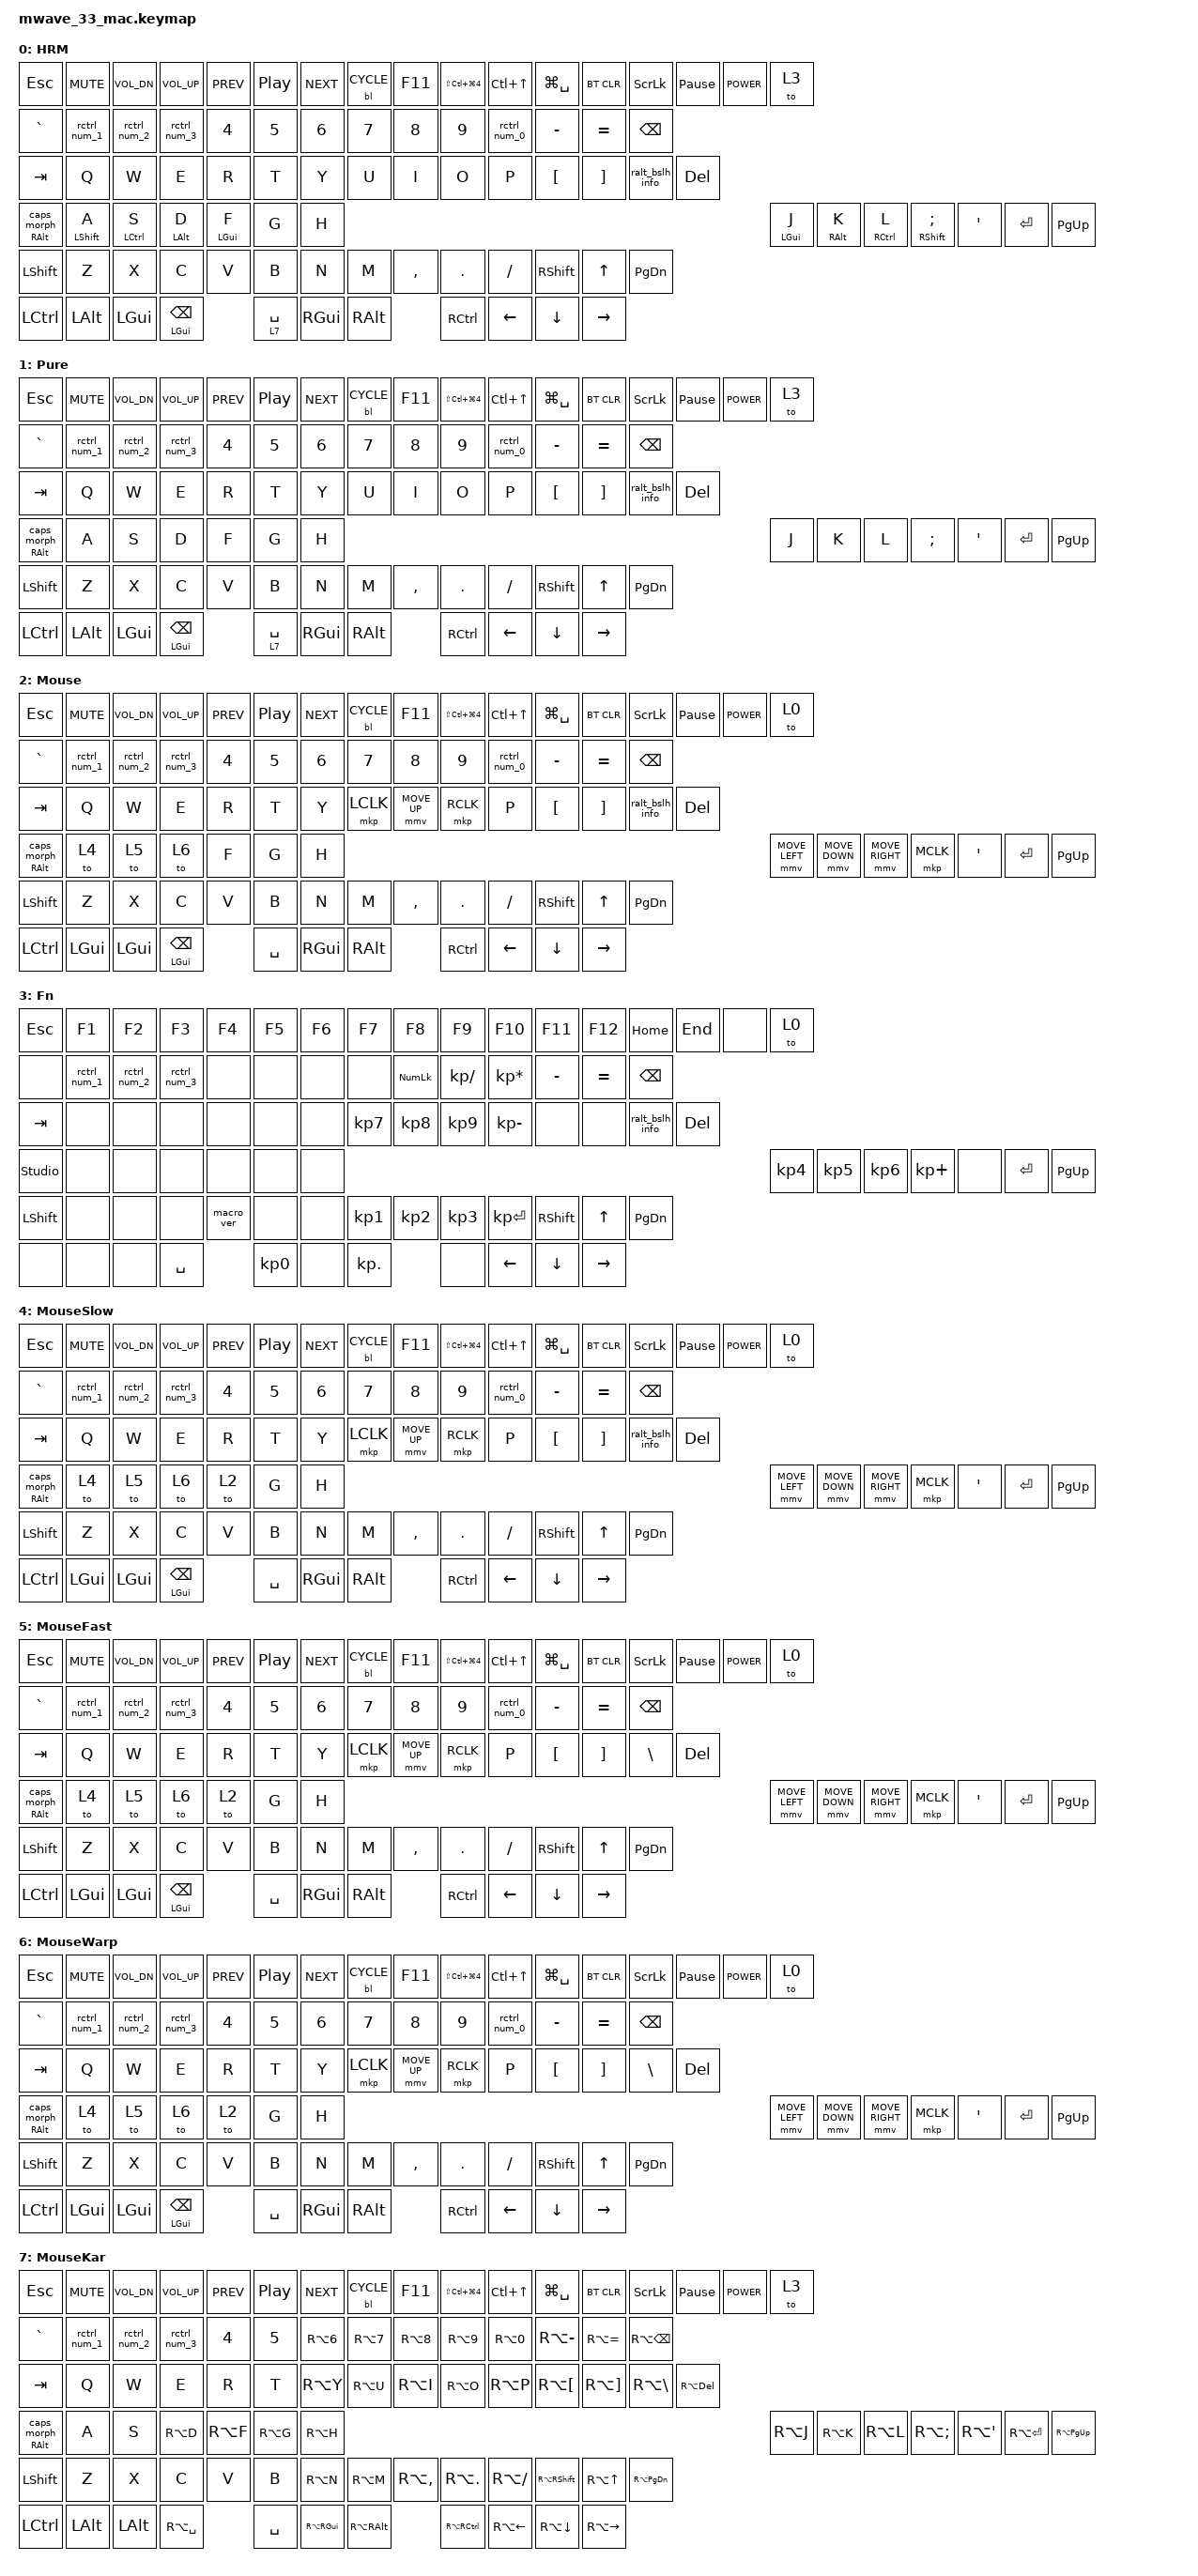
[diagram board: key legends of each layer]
#include <behaviors.dtsi>
#include <dt-bindings/zmk/backlight.h>
#include <dt-bindings/zmk/bt.h>
#include <dt-bindings/zmk/keys.h>
#include <dt-bindings/zmk/outputs.h>
#include <dt-bindings/zmk/mouse.h>
#include <dt-bindings/advertising_mode.h>
#include <behaviors/advertising_mode.dtsi>
#include <behaviors/stp_indicators.dtsi>
#include "studio-macros.dtsi"

/ {
    #include "mwave_prim.dtsi"  // Moved inside main section
    
    behaviors {
        /* Caps Lock behavior - tap for ESC/Cmd+Grave, hold for right option */
        caps_esc: caps_esc {
            compatible = "zmk,behavior-hold-tap";
            label = "CAPS_ESC";
            #binding-cells = <2>;
            tapping-term-ms = <200>;
            quick-tap-ms = <150>;
            flavor = "tap-preferred";
            bindings = <&kp>, <&caps_morph>;
        };

        /* Mod-morph for caps - ESC normally, Grave when Cmd is held */
        caps_morph: caps_morph {
            compatible = "zmk,behavior-mod-morph";
            label = "CAPS_MORPH";
            #binding-cells = <0>;
            bindings = <&kp ESC>, <&kp GRAVE>;
            mods = <(MOD_LGUI|MOD_RGUI)>;
            keep-mods = <(MOD_LGUI|MOD_RGUI)>;
        };

        /* Right Ctrl + Number layer access behaviors */
        rctrl_num_0: rctrl_num_0 {
            compatible = "zmk,behavior-mod-morph";
            label = "RCTRL_NUM_0";
            #binding-cells = <0>;
            bindings = <&kp N0>, <&to 0>;
            mods = <(MOD_RCTL)>;
        };

        rctrl_num_1: rctrl_num_1 {
            compatible = "zmk,behavior-mod-morph";
            label = "RCTRL_NUM_1";
            #binding-cells = <0>;
            bindings = <&kp N1>, <&to 1>;
            mods = <(MOD_RCTL)>;
        };

        rctrl_num_2: rctrl_num_2 {
            compatible = "zmk,behavior-mod-morph";
            label = "RCTRL_NUM_2";
            #binding-cells = <0>;
            bindings = <&kp N2>, <&to 2>;
            mods = <(MOD_RCTL)>;
        };

        rctrl_num_3: rctrl_num_3 {
            compatible = "zmk,behavior-mod-morph";
            label = "RCTRL_NUM_3";
            #binding-cells = <0>;
            bindings = <&kp N3>, <&to 3>;
            mods = <(MOD_RCTL)>;
        };

        /* Home Row Mods with mWave key positions */
        HRM_left_pinky_v1_TKZ: HRM_left_pinky_v1_TKZ {
            compatible = "zmk,behavior-hold-tap";
            label = "HRM_LEFT_PINKY";
            #binding-cells = <2>;
            tapping-term-ms = <220>;
            quick-tap-ms = <300>;
            require-prior-idle-ms = <150>;
            flavor = "tap-preferred";
            bindings = <&kp>, <&kp>;
            hold-trigger-key-positions = <7 8 9 10 11 12 13 14 15 16 24 25 26 27 28 29 30 37 38 39 40 41 42 43 44 45 52 53 54 55 56 57 58 59 66 67 68 69 70 71 72 73 78 79 80 81 82 83 84>;
            hold-trigger-on-release;
        };

        HRM_left_ring_v1_TKZ: HRM_left_ring_v1_TKZ {
            compatible = "zmk,behavior-hold-tap";
            label = "HRM_LEFT_RING";
            #binding-cells = <2>;
            tapping-term-ms = <210>;
            quick-tap-ms = <300>;
            require-prior-idle-ms = <150>;
            flavor = "tap-preferred";
            bindings = <&kp>, <&kp>;
            hold-trigger-key-positions = <7 8 9 10 11 12 13 14 15 16 24 25 26 27 28 29 30 37 38 39 40 41 42 43 44 45 52 53 54 55 56 57 58 59 66 67 68 69 70 71 72 73 78 79 80 81 82 83 84>;
            hold-trigger-on-release;
        };

        HRM_left_middy_v1_TKZ: HRM_left_middy_v1_TKZ {
            compatible = "zmk,behavior-hold-tap";
            label = "HRM_LEFT_MIDDLE";
            #binding-cells = <2>;
            tapping-term-ms = <210>;
            quick-tap-ms = <300>;
            require-prior-idle-ms = <150>;
            flavor = "tap-preferred";
            bindings = <&kp>, <&kp>;
            hold-trigger-key-positions = <7 8 9 10 11 12 13 14 15 16 24 25 26 27 28 29 30 37 38 39 40 41 42 43 44 45 52 53 54 55 56 57 58 59 66 67 68 69 70 71 72 73 78 79 80 81 82 83 84>;
            hold-trigger-on-release;
        };

        HRM_left_index_v1_TKZ: HRM_left_index_v1_TKZ {
            compatible = "zmk,behavior-hold-tap";
            label = "HRM_LEFT_INDEX";
            #binding-cells = <2>;
            tapping-term-ms = <130>;
            quick-tap-ms = <300>;
            require-prior-idle-ms = <100>;
            flavor = "tap-preferred";
            bindings = <&kp>, <&kp>;
            hold-trigger-key-positions = <7 8 9 10 11 12 13 14 15 16 24 25 26 27 28 29 30 37 38 39 40 41 42 43 44 45 52 53 54 55 56 57 58 59 66 67 68 69 70 71 72 73 78 79 80 81 82 83 84>;
            hold-trigger-on-release;
        };

        HRM_right_index_v1_TKZ: HRM_right_index_v1_TKZ {
            compatible = "zmk,behavior-hold-tap";
            label = "HRM_RIGHT_INDEX";
            #binding-cells = <2>;
            tapping-term-ms = <150>;
            quick-tap-ms = <300>;
            require-prior-idle-ms = <100>;
            flavor = "tap-preferred";
            bindings = <&kp>, <&kp>;
            hold-trigger-key-positions = <0 1 2 3 4 5 6 17 18 19 20 21 22 23 31 32 33 34 35 36 46 47 48 49 50 51 60 61 62 63 64 65 74 75 76 77>;
            hold-trigger-on-release;
        };

        HRM_right_middy_v1_TKZ: HRM_right_middy_v1_TKZ {
            compatible = "zmk,behavior-hold-tap";
            label = "HRM_RIGHT_MIDDLE";
            #binding-cells = <2>;
            tapping-term-ms = <210>;
            quick-tap-ms = <300>;
            require-prior-idle-ms = <150>;
            flavor = "tap-preferred";
            bindings = <&kp>, <&kp>;
            hold-trigger-key-positions = <0 1 2 3 4 5 6 17 18 19 20 21 22 23 31 32 33 34 35 36 46 47 48 49 50 51 60 61 62 63 64 65 74 75 76 77>;
            hold-trigger-on-release;
        };

        HRM_right_ring_v1_TKZ: HRM_right_ring_v1_TKZ {
            compatible = "zmk,behavior-hold-tap";
            label = "HRM_RIGHT_RING";
            #binding-cells = <2>;
            tapping-term-ms = <210>;
            quick-tap-ms = <300>;
            require-prior-idle-ms = <150>;
            flavor = "tap-preferred";
            bindings = <&kp>, <&kp>;
            hold-trigger-key-positions = <0 1 2 3 4 5 6 17 18 19 20 21 22 23 31 32 33 34 35 36 46 47 48 49 50 51 60 61 62 63 64 65 74 75 76 77>;
            hold-trigger-on-release;
        };

        HRM_right_pinky_v1_TKZ: HRM_right_pinky_v1_TKZ {
            compatible = "zmk,behavior-hold-tap";
            label = "HRM_RIGHT_PINKY";
            #binding-cells = <2>;
            tapping-term-ms = <170>;
            quick-tap-ms = <300>;
            require-prior-idle-ms = <150>;
            flavor = "tap-preferred";
            bindings = <&kp>, <&kp>;
            hold-trigger-key-positions = <0 1 2 3 4 5 6 17 18 19 20 21 22 23 31 32 33 34 35 36 46 47 48 49 50 51 60 61 62 63 64 65 74 75 76 77>;
            hold-trigger-on-release;
        };

        /* Enhanced space behaviors for mouse */
        left_space: left_space {
            compatible = "zmk,behavior-hold-tap";
            label = "LEFT_SPACE";
            #binding-cells = <2>;
            tapping-term-ms = <150>;
            quick-tap-ms = <200>;
            require-prior-idle-ms = <100>;
            flavor = "balanced";
            bindings = <&kp>, <&kp>;
            hold-trigger-key-positions = <0 1 2 3 4 5 6 7 8 9 10 11 12 13 14 15 16 17 18 19 20 21 22 23 24 25 26 27 28 29 30 31 32 33 34 35 36 37 38 39 40 41 42 43 44 45 46 47 48 49 50 51 52 53 54 55 56 57 58 59 60 61 62 63 64 65 66 67 68 69 70 71 72 73 78 79 80 81 82 83 84>;
            hold-trigger-on-release;
        };

        /* Right space: MOMENTARY access to mouse layer */
        right_space: right_space {
            compatible = "zmk,behavior-hold-tap";
            label = "RIGHT_SPACE";
            #binding-cells = <2>;
            tapping-term-ms = <250>;
            quick-tap-ms = <200>;
            require-prior-idle-ms = <50>;
            flavor = "tap-preferred";
            bindings = <&mo>, <&kp>;
            hold-trigger-key-positions = <0 1 2 3 4 5 6 7 8 9 10 11 12 13 14 15 16 17 18 19 20 21 22 23 24 25 26 27 28 29 30 31 32 33 34 35 36 37 38 39 40 41 42 43 44 45 46 47 48 49 50 51 52 53 54 55 56 57 58 59 60 61 62 63 64 65 66 67 68 69 70 71 72 73 74 75 76 77>;
            hold-trigger-on-release;
        };

        /* Macro to display layer information */
        show_layers: show_layers {
            compatible = "zmk,behavior-macro";
            label = "SHOW_LAYERS";
            #binding-cells = <0>;
            bindings = <&kp L &kp A &kp Y &kp E &kp R &kp S>;
        };

        /* Macro to display layer access methods */
        show_access: show_access {
            compatible = "zmk,behavior-macro";
            label = "SHOW_ACCESS";
            #binding-cells = <0>;
            bindings = <&kp A &kp C &kp C &kp E &kp S &kp S>;
        };

        /* Tap dance for backslash info - single tap shows layers, double tap shows access */
        bslh_info_td: bslh_info_td {
            compatible = "zmk,behavior-tap-dance";
            label = "BSLH_INFO_TD";
            #binding-cells = <0>;
            tapping-term-ms = <200>;
            bindings = <&show_layers>, <&show_access>;
        };

        /* Mod-morph for RALT + \ to show info */
        ralt_bslh_info: ralt_bslh_info {
            compatible = "zmk,behavior-mod-morph";
            label = "RALT_BSLH_INFO";
            #binding-cells = <0>;
            bindings = <&kp BSLH>, <&bslh_info_td>;
            mods = <(MOD_RALT)>;
        };
    };

    /* Enhanced combos for mouse speed control */
    combos {
        compatible = "zmk,combos";
        
        /* Mouse speed toggles when in mouse layers */
        combo_mouse_slow {
            timeout-ms = <50>;
            key-positions = <47 54>; /* A + K for mouse slow */
            bindings = <&to 4>;
            layers = <2 4 5 6>;
        };

        combo_mouse_fast {
            timeout-ms = <50>;
            key-positions = <48 54>; /* S + K for mouse fast */
            bindings = <&to 5>;
            layers = <2 4 5 6>;
        };

        combo_mouse_warp {
            timeout-ms = <50>;
            key-positions = <49 54>; /* D + K for mouse warp */
            bindings = <&to 6>;
            layers = <2 4 5 6>;
        };

        /* Return to normal mouse speed */
        combo_mouse_normal {
            timeout-ms = <50>;
            key-positions = <50 54>; /* F + K for normal mouse */
            bindings = <&to 2>;
            layers = <4 5 6>;
        };
    };

    keymap {
        compatible = "zmk,keymap";

        // Layer 0: Home Row Mods Layer
        hrm_layer {
            display-name = "HRM";
            bindings = <
&kp ESC    &kp C_MUTE    &kp C_VOL_DN  &kp C_VOL_UP  &kp C_PREV  &kp C_PP       &kp C_NEXT     &bl BL_CYCLE  &kp F11    &kp LS(LC(LG(NUMBER_4)))  &kp LC(UP_ARROW)  &kp LG(SPACE)  &bt BT_CLR  &kp SCROLLLOCK  &kp PAUSE_BREAK  &kp K_POWER  &to 3
&kp GRAVE  &rctrl_num_1  &rctrl_num_2  &rctrl_num_3  &kp N4      &kp N5         &kp N6         &kp N7        &kp N8     &kp N9                    &rctrl_num_0      &kp MINUS      &kp EQUAL   &kp BSPC
&kp TAB    &kp Q         &kp W         &kp E         &kp R       &kp T          &kp Y          &kp U         &kp I      &kp O                     &kp P             &kp LBKT       &kp RBKT    &ralt_bslh_info        &kp DEL
&caps_esc RALT 0  &HRM_left_pinky_v1_TKZ LSHFT A  &HRM_left_ring_v1_TKZ LCTRL S  &HRM_left_middy_v1_TKZ LALT D  &HRM_left_index_v1_TKZ LGUI F  &kp G      &kp H     &HRM_right_index_v1_TKZ LGUI J  &HRM_right_middy_v1_TKZ RALT K  &HRM_right_ring_v1_TKZ RCTRL L  &HRM_right_pinky_v1_TKZ RSHFT SEMI &kp SQT  &kp RET &kp PG_UP
&kp LSHFT  &kp Z         &kp X         &kp C         &kp V       &kp B          &kp N          &kp M         &kp COMMA  &kp DOT                   &kp FSLH          &kp RSHFT      &kp UP      &kp PG_DN
&kp LCTRL  &kp LALT      &kp LGUI      &left_space LGUI BSPC  &right_space 7 SPACE   &kp RIGHT_GUI  &kp RIGHT_ALT  &kp RCTRL     &kp LEFT   &kp DOWN                  &kp RIGHT
            >;
        };

        // Layer 1: Pure Base Layer
        pure_base {
            display-name = "Pure";
            bindings = <
&kp ESC    &kp C_MUTE    &kp C_VOL_DN  &kp C_VOL_UP  &kp C_PREV  &kp C_PP       &kp C_NEXT     &bl BL_CYCLE  &kp F11    &kp LS(LC(LG(NUMBER_4)))  &kp LC(UP_ARROW)  &kp LG(SPACE)  &bt BT_CLR  &kp SCROLLLOCK  &kp PAUSE_BREAK  &kp K_POWER  &to 3
&kp GRAVE  &rctrl_num_1  &rctrl_num_2  &rctrl_num_3  &kp N4      &kp N5         &kp N6         &kp N7        &kp N8     &kp N9                    &rctrl_num_0      &kp MINUS      &kp EQUAL   &kp BSPC
&kp TAB    &kp Q         &kp W         &kp E         &kp R       &kp T          &kp Y          &kp U         &kp I      &kp O                     &kp P             &kp LBKT       &kp RBKT    &ralt_bslh_info        &kp DEL
&caps_esc RALT 0  &kp A         &kp S         &kp D         &kp F       &kp G          &kp H          &kp J         &kp K      &kp L                     &kp SEMI          &kp SQT        &kp RET     &kp PG_UP
&kp LSHFT  &kp Z         &kp X         &kp C         &kp V       &kp B          &kp N          &kp M         &kp COMMA  &kp DOT                   &kp FSLH          &kp RSHFT      &kp UP      &kp PG_DN
&kp LCTRL  &kp LALT      &kp LGUI      &left_space LGUI BSPC  &right_space 7 SPACE   &kp RIGHT_GUI  &kp RIGHT_ALT  &kp RCTRL     &kp LEFT   &kp DOWN                  &kp RIGHT
            >;
        };

        // Layer 2: Mouse Layer - with speed control keys
        mouse_layer {
            display-name = "Mouse";
            bindings = <
&kp ESC    &kp C_MUTE    &kp C_VOL_DN  &kp C_VOL_UP  &kp C_PREV  &kp C_PP       &kp C_NEXT     &bl BL_CYCLE  &kp F11    &kp LS(LC(LG(NUMBER_4)))  &kp LC(UP_ARROW)  &kp LG(SPACE)  &bt BT_CLR  &kp SCROLLLOCK  &kp PAUSE_BREAK  &kp K_POWER  &to 0
&kp GRAVE  &rctrl_num_1  &rctrl_num_2  &rctrl_num_3  &kp N4      &kp N5         &kp N6         &kp N7        &kp N8     &kp N9                    &rctrl_num_0      &kp MINUS      &kp EQUAL   &kp BSPC
&kp TAB    &kp Q         &kp W         &kp E         &kp R       &kp T          &kp Y          &mkp LCLK     &mmv MOVE_UP  &mkp RCLK              &kp P             &kp LBKT       &kp RBKT    &ralt_bslh_info        &kp DEL
&caps_esc RALT 0  &to 4         &to 5         &to 6         &kp F       &kp G          &kp H          &mmv MOVE_LEFT  &mmv MOVE_DOWN  &mmv MOVE_RIGHT     &mkp MCLK         &kp SQT        &kp RET     &kp PG_UP
&kp LSHFT  &kp Z         &kp X         &kp C         &kp V       &kp B          &kp N          &kp M         &kp COMMA  &kp DOT                   &kp FSLH          &kp RSHFT      &kp UP      &kp PG_DN
&kp LCTRL  &kp LGUI      &kp LEFT_GUI  &left_space LGUI BSPC  &kp SPACE      &kp RIGHT_GUI  &kp RIGHT_ALT  &kp RCTRL     &kp LEFT   &kp DOWN                  &kp RIGHT
            >;
        };

        // Layer 3: Function Layer
        raise {
            display-name = "Fn";
            bindings = <
&kp ESCAPE      &kp F1  &kp F2  &kp F3     &kp F4      &kp F5  &kp F6      &kp F7     &kp F8       &kp F9         &kp F10          &kp F11          &kp F12    &kp HOME       &kp END     &none  &to 0
&none           &rctrl_num_1   &rctrl_num_2   &rctrl_num_3      &none       &none   &none       &none      &kp KP_NLCK  &kp KP_DIVIDE  &kp KP_MULTIPLY  &kp MINUS        &kp EQUAL  &kp BACKSPACE
&kp TAB         &none   &none   &none      &none       &none   &none       &kp KP_N7  &kp KP_N8    &kp KP_N9      &kp KP_MINUS     &none            &none      &ralt_bslh_info          &kp DELETE
&studio_unlock  &none   &none   &none      &none       &none   &none       &kp KP_N4  &kp KP_N5    &kp KP_N6      &kp KP_PLUS      &none            &kp ENTER  &kp PAGE_UP
&kp LEFT_SHIFT  &none   &none   &none      &macro_ver  &none   &none       &kp KP_N1  &kp KP_N2    &kp KP_N3      &kp KP_ENTER     &kp RIGHT_SHIFT  &kp UP     &kp PAGE_DOWN
&none           &none   &none   &kp SPACE  &kp KP_N0   &none   &kp KP_DOT  &none      &kp LEFT     &kp DOWN       &kp RIGHT
            >;
        };

        // Layer 4: Mouse Slow Layer
        mouse_slow {
            display-name = "MouseSlow";
            bindings = <
&kp ESC    &kp C_MUTE    &kp C_VOL_DN  &kp C_VOL_UP  &kp C_PREV  &kp C_PP       &kp C_NEXT     &bl BL_CYCLE  &kp F11    &kp LS(LC(LG(NUMBER_4)))  &kp LC(UP_ARROW)  &kp LG(SPACE)  &bt BT_CLR  &kp SCROLLLOCK  &kp PAUSE_BREAK  &kp K_POWER  &to 0
&kp GRAVE  &rctrl_num_1  &rctrl_num_2  &rctrl_num_3  &kp N4      &kp N5         &kp N6         &kp N7        &kp N8     &kp N9                    &rctrl_num_0      &kp MINUS      &kp EQUAL   &kp BSPC
&kp TAB    &kp Q         &kp W         &kp E         &kp R       &kp T          &kp Y          &mkp LCLK     &mmv MOVE_UP  &mkp RCLK              &kp P             &kp LBKT       &kp RBKT    &ralt_bslh_info        &kp DEL
&caps_esc RALT 0  &to 4         &to 5         &to 6         &to 2       &kp G          &kp H          &mmv MOVE_LEFT  &mmv MOVE_DOWN  &mmv MOVE_RIGHT     &mkp MCLK         &kp SQT        &kp RET     &kp PG_UP
&kp LSHFT  &kp Z         &kp X         &kp C         &kp V       &kp B          &kp N          &kp M         &kp COMMA  &kp DOT                   &kp FSLH          &kp RSHFT      &kp UP      &kp PG_DN
&kp LCTRL  &kp LGUI      &kp LEFT_GUI  &left_space LGUI BSPC  &kp SPACE      &kp RIGHT_GUI  &kp RIGHT_ALT  &kp RCTRL     &kp LEFT   &kp DOWN                  &kp RIGHT
            >;
        };

        // Layer 5: Mouse Fast Layer
        mouse_fast {
            display-name = "MouseFast";
            bindings = <
&kp ESC    &kp C_MUTE    &kp C_VOL_DN  &kp C_VOL_UP  &kp C_PREV  &kp C_PP       &kp C_NEXT     &bl BL_CYCLE  &kp F11    &kp LS(LC(LG(NUMBER_4)))  &kp LC(UP_ARROW)  &kp LG(SPACE)  &bt BT_CLR  &kp SCROLLLOCK  &kp PAUSE_BREAK  &kp K_POWER  &to 0
&kp GRAVE  &rctrl_num_1  &rctrl_num_2  &rctrl_num_3  &kp N4      &kp N5         &kp N6         &kp N7        &kp N8     &kp N9                    &rctrl_num_0      &kp MINUS      &kp EQUAL   &kp BSPC
&kp TAB    &kp Q         &kp W         &kp E         &kp R       &kp T          &kp Y          &mkp LCLK     &mmv MOVE_UP  &mkp RCLK              &kp P             &kp LBKT       &kp RBKT    &kp BSLH        &kp DEL
&caps_esc RALT 0  &to 4         &to 5         &to 6         &to 2       &kp G          &kp H          &mmv MOVE_LEFT  &mmv MOVE_DOWN  &mmv MOVE_RIGHT     &mkp MCLK         &kp SQT        &kp RET     &kp PG_UP
&kp LSHFT  &kp Z         &kp X         &kp C         &kp V       &kp B          &kp N          &kp M         &kp COMMA  &kp DOT                   &kp FSLH          &kp RSHFT      &kp UP      &kp PG_DN
&kp LCTRL  &kp LGUI      &kp LEFT_GUI  &left_space LGUI BSPC  &kp SPACE      &kp RIGHT_GUI  &kp RIGHT_ALT  &kp RCTRL     &kp LEFT   &kp DOWN                  &kp RIGHT
            >;
        };

        // Layer 6: Mouse Warp Layer
        mouse_warp {
            display-name = "MouseWarp";
            bindings = <
&kp ESC    &kp C_MUTE    &kp C_VOL_DN  &kp C_VOL_UP  &kp C_PREV  &kp C_PP       &kp C_NEXT     &bl BL_CYCLE  &kp F11    &kp LS(LC(LG(NUMBER_4)))  &kp LC(UP_ARROW)  &kp LG(SPACE)  &bt BT_CLR  &kp SCROLLLOCK  &kp PAUSE_BREAK  &kp K_POWER  &to 0
&kp GRAVE  &rctrl_num_1  &rctrl_num_2  &rctrl_num_3  &kp N4      &kp N5         &kp N6         &kp N7        &kp N8     &kp N9                    &rctrl_num_0      &kp MINUS      &kp EQUAL   &kp BSPC
&kp TAB    &kp Q         &kp W         &kp E         &kp R       &kp T          &kp Y          &mkp LCLK     &mmv MOVE_UP  &mkp RCLK              &kp P             &kp LBKT       &kp RBKT    &kp BSLH        &kp DEL
&caps_esc RALT 0  &to 4         &to 5         &to 6         &to 2       &kp G          &kp H          &mmv MOVE_LEFT  &mmv MOVE_DOWN  &mmv MOVE_RIGHT     &mkp MCLK         &kp SQT        &kp RET     &kp PG_UP
&kp LSHFT  &kp Z         &kp X         &kp C         &kp V       &kp B          &kp N          &kp M         &kp COMMA  &kp DOT                   &kp FSLH          &kp RSHFT      &kp UP      &kp PG_DN
&kp LCTRL  &kp LGUI      &kp LEFT_GUI  &left_space LGUI BSPC  &kp SPACE      &kp RIGHT_GUI  &kp RIGHT_ALT  &kp RCTRL     &kp LEFT   &kp DOWN                  &kp RIGHT
            >;
        };

        // Layer 7: Mouse Karabiner Layer
        mouse_karabiner {
            display-name = "MouseKar";
            bindings = <
&kp ESC    &kp C_MUTE    &kp C_VOL_DN  &kp C_VOL_UP  &kp C_PREV  &kp C_PP       &kp C_NEXT     &bl BL_CYCLE  &kp F11    &kp LS(LC(LG(NUMBER_4)))  &kp LC(UP_ARROW)  &kp LG(SPACE)  &bt BT_CLR  &kp SCROLLLOCK  &kp PAUSE_BREAK  &kp K_POWER  &to 3
&kp GRAVE  &rctrl_num_1  &rctrl_num_2  &rctrl_num_3  &kp N4      &kp N5         &kp RA(N6)     &kp RA(N7)    &kp RA(N8)  &kp RA(N9)               &kp RA(N0)        &kp RA(MINUS)  &kp RA(EQUAL) &kp RA(BSPC)
&kp TAB    &kp Q         &kp W         &kp E         &kp R       &kp T          &kp RA(Y)      &kp RA(U)     &kp RA(I)   &kp RA(O)                &kp RA(P)         &kp RA(LBKT)   &kp RA(RBKT)  &kp RA(BSLH)    &kp RA(DEL)
&caps_esc RALT 0  &kp A         &kp S         &kp RA(D)     &kp RA(F)   &kp RA(G)      &kp RA(H)      &kp RA(J)     &kp RA(K)   &kp RA(L)                &kp RA(SEMI)      &kp RA(SQT)    &kp RA(RET)   &kp RA(PG_UP)
&kp LSHFT  &kp Z         &kp X         &kp C         &kp V       &kp B          &kp RA(N)      &kp RA(M)     &kp RA(COMMA) &kp RA(DOT)            &kp RA(FSLH)      &kp RA(RSHFT)  &kp RA(UP)    &kp RA(PG_DN)
&kp LCTRL  &kp LALT      &kp LALT      &kp RA(SPACE)           &kp SPACE      &kp RA(RIGHT_GUI)  &kp RA(RIGHT_ALT)  &kp RA(RCTRL)  &kp RA(LEFT)  &kp RA(DOWN)            &kp RA(RIGHT)
            >;
        };
    };
};
